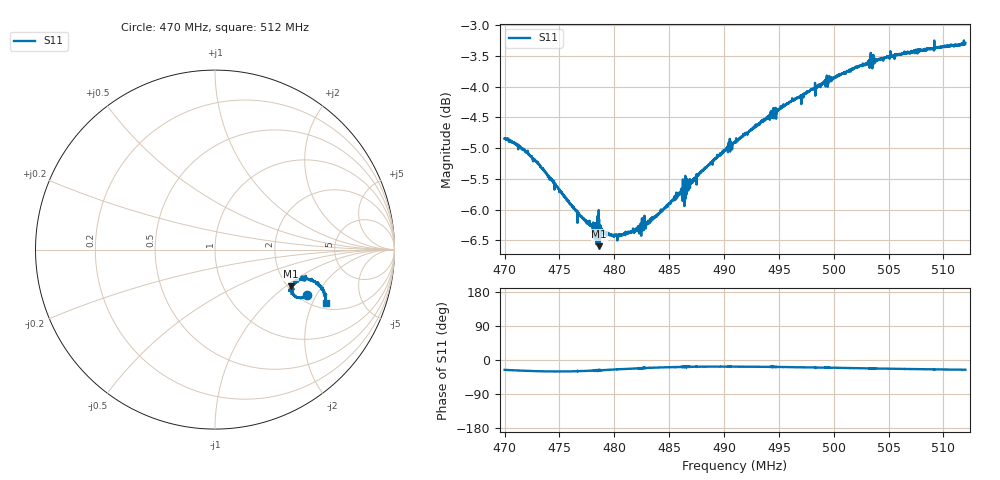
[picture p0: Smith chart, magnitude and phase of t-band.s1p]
! Calibrated averaged scanner-service zoom
# Hz S RI R 50
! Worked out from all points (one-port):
!   4001 points, 470 MHz to 512 MHz, reference 50 ohm
!   lowest |S11| = -6.6 dB at 478.6 MHz (marker M1), VSWR 2.76, Z = 104 - j54.2 ohm
!   |S11| at or under -10 dB: nowhere
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4.7e8  0.5148 -0.2503
4.716065e8  0.4957 -0.2646
4.728875e8  0.4782 -0.2696
4.740845e8  0.4612 -0.2669
4.7525e8  0.446 -0.2605
4.768355e8  0.4327 -0.2428
4.77938e8  0.4294 -0.2282
4.782215e8  0.4342 -0.2232
4.78337e8  0.4296 -0.2187
4.786205e8  0.4213 -0.2039
4.788305e8  0.4309 -0.2164
4.805e8  0.4347 -0.1966
4.82243e8  0.4466 -0.1799
4.82852e8  0.4549 -0.175
4.845635e8  0.4737 -0.1665
4.8575e8  0.4893 -0.1648
4.86359e8  0.5026 -0.1618
4.867895e8  0.4969 -0.1625
4.87703e8  0.5103 -0.1635
4.91e8  0.5423 -0.1716
4.93751e8  0.5644 -0.1832
4.9625e8  0.5815 -0.199
4.991165e8  0.5962 -0.2184
5.015e8  0.6066 -0.2352
5.035685e8  0.6116 -0.2496
5.038625e8  0.6115 -0.253
5.0675e8  0.6155 -0.2702
5.12e8  0.6173 -0.2968
